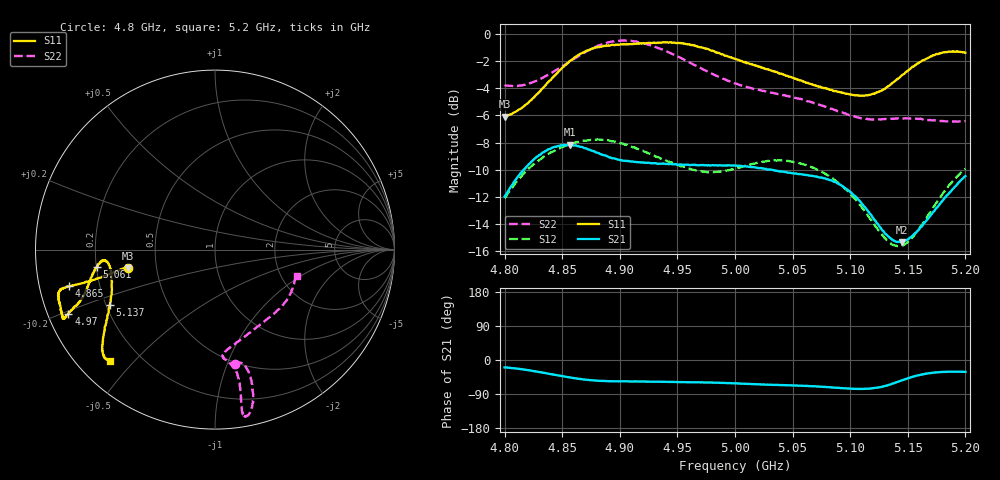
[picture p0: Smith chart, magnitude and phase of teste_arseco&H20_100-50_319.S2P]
! Network Analyzer HP8722D
! Hewlett-Packard
! Data name: Linha & Wilkinson
! Saver's name: Rodrigo Anjos
! Comments: Teste da utilização de aquisição
! continua pelo VNA HP8722D
! Time and date: 6/5/2025 15:13
!  Frequency  S11  S21  S12  S22
# HZ  S  MA R 50
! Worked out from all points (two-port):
!   401 points, 4.8 GHz to 5.2 GHz, reference 50 ohm
!   highest |S21| = -8.15 dB at 4.857 GHz (marker M1); lowest = -15.3 dB at 5.145 GHz (marker M2)
!   |S21| within 3 dB of the highest: 4.806 GHz to 5.093 GHz (286.4 MHz wide, 5.79 % of centre); 5.191998 GHz to end of sweep
!   lowest |S11| = -6.1 dB at 4.8 GHz (marker M3), VSWR 2.97, Z = 17 - j4.59 ohm
!   |S11| at or under -10 dB: nowhere
!   |S22| runs from -6.5 to -0.5 dB; largest |S21 - S12| = 0.62
!   S11 on the Smith chart (normalised r, x): 4.8 GHz: 0.34, -0.09; 4.865 GHz: 0.09, -0.12; 4.97 GHz: 0.06, -0.21; 5.061 GHz: 0.20, -0.07; 5.137 GHz: 0.22, -0.24; 5.2 GHz: 0.09, -0.43
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4.8e9  0.4964 -168.2  0.2519 -19.6  0.2487 -140.9  0.6482 -80.3
4.828e9  0.5999 -167.0  0.3532 -30.5  0.3384 -144.8  0.6733 -75.4
4.857e9  0.7958 -165.9  0.3911 -46.3  0.3931 -150.2  0.7918 -74.8
4.865e9  0.8399 -165.9  0.3846 -49.7  0.4012 -151.6  0.8329 -75.2
4.867e9  0.8485 -165.8  0.3841 -50.8  0.4026 -152.0  0.8422 -75.4
4.879e9  0.8903 -165.6  0.3667 -54.2  0.4076 -154.0  0.8949 -76.6
4.902e9  0.9129 -162.3  0.342 -56.4  0.3955 -156.8  0.9447 -79.3
4.934e9  0.9295 -156.5  0.3329 -57.5  0.3513 -155.6  0.8833 -80.4
4.949e9  0.9243 -155.3  0.3316 -57.8  0.331 -153.0  0.8291 -80.0
4.97e9  0.8918 -156.3  0.3295 -59.1  0.3124 -146.9  0.7492 -79.7
5e9  0.8089 -158.9  0.3277 -61.8  0.3196 -137.2  0.6568 -81.2
5.036e9  0.7244 -165.6  0.3133 -65.8  0.3419 -134.3  0.6021 -85.6
5.061e9  0.6639 -171.8  0.3026 -68.2  0.3298 -136.2  0.5695 -84.0
5.067e9  0.6515 -173.0  0.3007 -69.1  0.323 -136.6  0.559 -82.7
5.084e9  0.6217 -174.5  0.2892 -72.4  0.2954 -138.3  0.5299 -76.2
5.103e9  0.5959 -171.5  0.2551 -76.0  0.2504 -138.6  0.4976 -65.2
5.117e9  0.5963 -165.0  0.2183 -75.5  0.2095 -135.0  0.485 -55.2
5.134e9  0.6453 -154.2  0.1785 -65.3  0.171 -120.8  0.486 -43.3
5.137e9  0.6613 -152.3  0.1743 -62.2  0.1676 -116.9  0.488 -41.5
5.145e9  0.7054 -148.2  0.1713 -53.5  0.1669 -106.2  0.4888 -37.0
5.174e9  0.8393 -138.4  0.2266 -32.7  0.2366 -80.3  0.4803 -23.9
5.2e9  0.8522 -133.5  0.2999 -31.3  0.3192 -76.8  0.4777 -17.6
